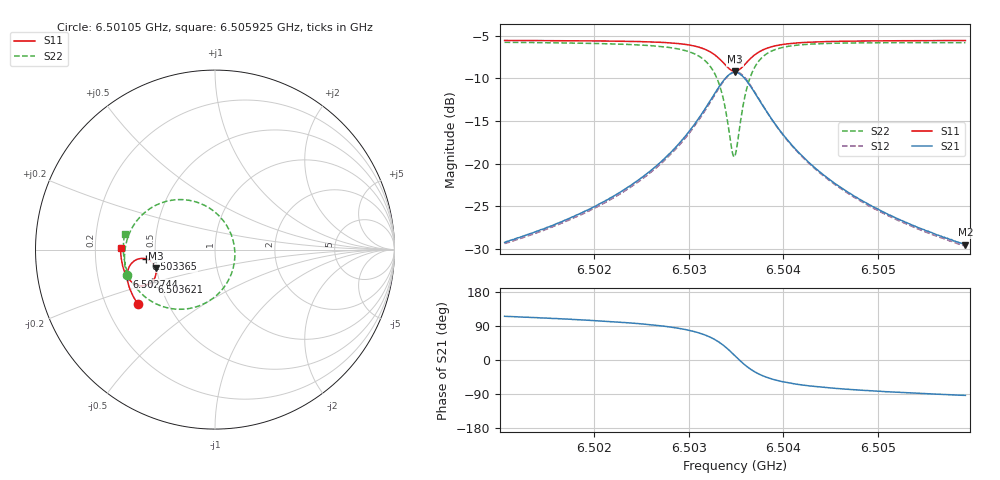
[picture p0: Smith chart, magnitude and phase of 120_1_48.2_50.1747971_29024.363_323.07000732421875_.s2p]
#  HZ  S  RI  R  50.00
! Rohde & Schwarz Vector Network Analyzer
! Rohde-Schwarz,ZNB20-2Port,1311601062101988,3.16
! Created: UTC 3/20/2024, 11:41:21 AM
! freq[Hz]  re:S11  im:S11  re:S21  im:S21  re:S12  im:S12  re:S22  im:S22
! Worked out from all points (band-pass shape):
!   401 points, 6.50105 GHz to 6.505925 GHz, reference 50 ohm
!   highest |S21| = -9.31 dB at 6.503487 GHz (marker M1); lowest = -29.5 dB at 6.505925 GHz (marker M2)
!   |S21| within 3 dB of the highest: 6.503243 GHz to 6.503731 GHz (487.3 kHz wide, 0.00749 % of centre)
!   lowest |S11| = -9.2 dB at 6.503487 GHz (marker M3), VSWR 2.06, Z = 24.7 - j5.8 ohm
!   |S11| at or under -10 dB: nowhere
!   |S22| runs from -19.2 to -5.8 dB; largest |S21 - S12| = 0.012
!   S11 on the Smith chart (normalised r, x): 6.50105 GHz: 0.34, -0.28; 6.502744 GHz: 0.33, -0.13; 6.503365 GHz: 0.44, -0.05; 6.503621 GHz: 0.45, -0.19; 6.505925 GHz: 0.31, +0.01
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6.5010495e9  -0.4308 -0.3028  -0.0148 0.0312  -0.013 0.0314  -0.4928 -0.1443
6.5018662e9  -0.4653 -0.2415  -0.014 0.0495  -0.0114 0.049  -0.5042 -0.0555
6.5022684e9  -0.4793 -0.2054  -0.0115 0.0668  -0.00841 0.0657  -0.5011 0.00231
6.5026829e9  -0.4887 -0.1593  -0.00133 0.0999  0.00244 0.0974  -0.4787 0.0865
6.5027438e9  -0.4892 -0.151  0.00185 0.1072  0.00562 0.1045  -0.4716 0.1026
6.5029632e9  -0.4855 -0.1158  0.0243 0.1428  0.0281 0.1385  -0.4246 0.174
6.5031217e9  -0.4706 -0.0835  0.0643 0.1793  0.0671 0.1734  -0.3469 0.2377
6.5032679e9  -0.4323 -0.0538  0.1471 0.2082  0.1478 0.2018  -0.1959 0.2786
6.5033167e9  -0.4108 -0.0491  0.1902 0.2066  0.1903 0.2009  -0.1202 0.2695
6.5033655e9  -0.3853 -0.0512  0.2396 0.1909  0.2397 0.1862  -0.0356 0.2342
6.5034508e9  -0.3421 -0.081  0.3183 0.115  0.3208 0.1107  0.0902 0.0843
6.5034873e9  -0.3313 -0.1034  0.3359 0.0658  0.3395 0.0599  0.1104 -0.00862
6.5035117e9  -0.3284 -0.1198  0.3393 0.0306  0.3432 0.0236  0.1074 -0.0729
6.5035483e9  -0.3306 -0.144  0.3314 -0.0201  0.3349 -0.0291  0.079 -0.1626
6.5036214e9  -0.3533 -0.1813  0.2839 -0.0966  0.2836 -0.1085  -0.0331 -0.2861
6.5037311e9  -0.3993 -0.2015  0.196 -0.1419  0.1904 -0.152  -0.2113 -0.3321
6.5038896e9  -0.4467 -0.1919  0.1114 -0.1377  0.1041 -0.1431  -0.3633 -0.2825
6.5040602e9  -0.4747 -0.1705  0.0656 -0.1166  0.0592 -0.1189  -0.4374 -0.2152
6.504304e9  -0.4957 -0.1407  0.0347 -0.0911  0.0298 -0.0917  -0.4817 -0.1412
6.5046819e9  -0.5118 -0.1007  0.0149 -0.0663  0.0116 -0.0659  -0.5049 -0.0631
6.5051207e9  -0.5208 -0.0595  0.00516 -0.0496  0.003 -0.049  -0.5109 0.000604
6.5059252e9  -0.526 0.00904  -0.00197 -0.0334  -0.00349 -0.0326  -0.5033 0.0877
